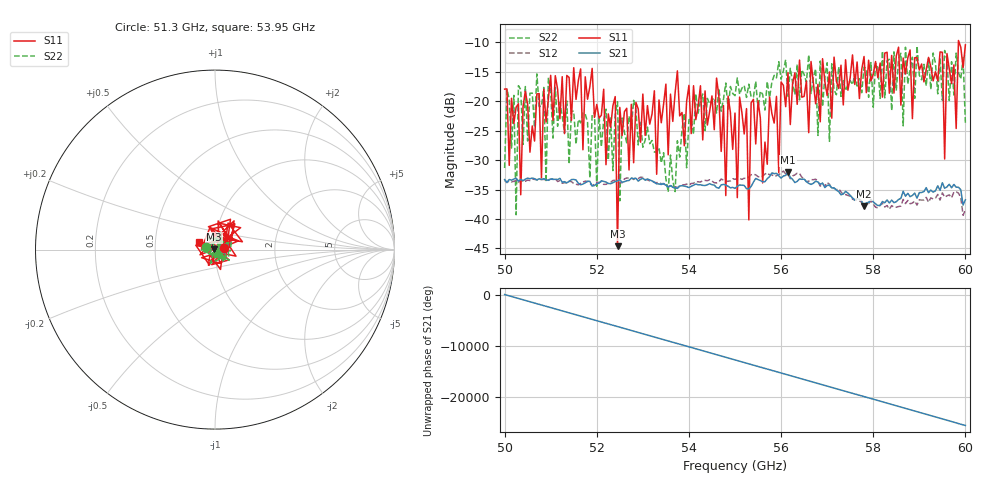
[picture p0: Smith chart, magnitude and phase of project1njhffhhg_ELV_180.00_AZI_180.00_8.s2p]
! 11/24/2026 10:12:30 AM
! C:\ANRITSUVNA\TEMP\TEMP.S2P
! CHANNEL.1
! TR.MEASUREMENT
! RAW.DATA
# HZ S RI R 50.0
! FREQ.HZ  S11RE  S11IM  S21RE  S21IM  S12RE  S12IM  S22RE  S22IM
!; PortSelection: Port_12
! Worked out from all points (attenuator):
!   201 points, 50 GHz to 60 GHz, reference 50 ohm
!   highest |S21| = -32.07 dB at 56.15 GHz (marker M1); lowest = -37.8 dB at 57.8 GHz (marker M2)
!   lowest |S11| = -44.6 dB at 52.45 GHz (marker M3), VSWR 1.01, Z = 49.4 + j0.0973 ohm
!   |S11| at or under -10 dB: start of sweep to 59.85 GHz; 59.86299 GHz to end of sweep
!   |S22| runs from -39.3 to -10.6 dB; largest |S21 - S12| = 0.038
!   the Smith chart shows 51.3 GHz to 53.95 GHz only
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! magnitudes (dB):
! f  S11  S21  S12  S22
! 50 GHz  -18.0  -33.3  -33.5  -31.3
! 50.2 GHz  -23.8  -33.2  -33.6  -19.0
! 50.25 GHz  -21.0  -33.1  -33.5  -39.3
! 50.35 GHz  -35.9  -33.3  -33.4  -18.0
! 50.45 GHz  -18.3  -33.2  -33.6  -17.5
! 51.7 GHz  -28.2  -34.1  -33.7  -22.0
! 52.4 GHz  -19.2  -33.6  -33.4  -22.3
! 52.45 GHz  -44.6  -33.5  -33.7  -20.1
! 52.5 GHz  -21.1  -33.3  -33.8  -36.9
! 53.35 GHz  -19.8  -34.1  -33.8  -27.9
! 55 GHz  -22.0  -34.8  -33.3  -19.1
! 55.25 GHz  -21.3  -34.8  -33.2  -19.4
! 55.3 GHz  -40.2  -34.9  -32.8  -17.1
! 55.35 GHz  -20.3  -34.5  -32.5  -19.3
! 56.15 GHz  -15.2  -32.1  -32.4  -19.2
! 56.7 GHz  -16.8  -33.9  -33.3  -16.0
! 57.8 GHz  -12.4  -37.8  -38.2  -14.2
! 58.35 GHz  -18.6  -37.3  -38.3  -12.9
! 59.5 GHz  -11.7  -33.8  -35.6  -19.8
! 59.55 GHz  -29.8  -34.8  -36.3  -11.4
! 59.6 GHz  -11.9  -34.5  -36.1  -13.0
! 60 GHz  -10.4  -36.7  -38.4  -23.8
